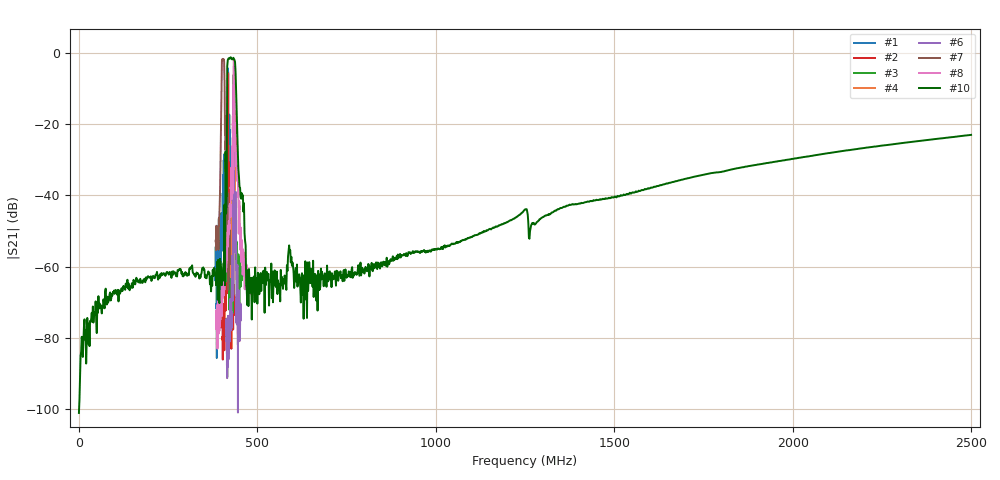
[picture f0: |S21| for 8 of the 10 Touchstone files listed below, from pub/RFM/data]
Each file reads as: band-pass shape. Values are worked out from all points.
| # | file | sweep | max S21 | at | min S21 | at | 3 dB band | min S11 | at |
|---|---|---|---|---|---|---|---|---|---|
| 1 | rf1171_w.s2p | 382.5 MHz to 432.5 MHz | -4.40 dB | 417.8 MHz | -85.6 dB | 386.6 MHz | 417.7 MHz-417.9 MHz | -12.9 dB | 417.7 MHz |
| 2 | rf1171d_w.s2p | 393 MHz to 443 MHz | -5.77 dB | 418.2 MHz | -86.0 dB | 403.2 MHz | 418.2 MHz-418.3 MHz | -6.0 dB | 418.2 MHz |
| 3 | rf1391c_w.s2p | 408.4 MHz to 458.4 MHz | -6.25 dB | 433.5 MHz | -76.3 dB | 444.3 MHz | 433 MHz-433.5 MHz | -7.2 dB | 433.1 MHz |
| 4 | rf1396c_w.s2p | 407.7 MHz to 439.7 MHz | -2.17 dB | 434.3 MHz | -64.8 dB | 432.5 MHz | 434 MHz-434.6 MHz | -21.9 dB | 434.3 MHz |
| 5 | rf1404c_n.s2p | 408.9 MHz to 458.9 MHz | -2.54 dB | 433.9 MHz | -66.1 dB | 432 MHz | 433.5 MHz-434.2 MHz | -17.7 dB | 433.7 MHz |
| 6 | rf1404dw.s2p | 413.9 MHz to 453.9 MHz | -6.22 dB | 434 MHz | -100.9 dB | 445.6 MHz | 434 MHz-434 MHz | -5.2 dB | 434 MHz |
| 7 | rf1419dspn.s2p | 383.5 MHz to 423.5 MHz | -1.69 dB | 403.4 MHz | -66.5 dB | 418.2 MHz | 400 MHz-407.8 MHz | -26.7 dB | 406.2 MHz |
| 8 | rf3625e_w.s2p | 384.4 MHz to 484.4 MHz | -2.44 dB | 434.8 MHz | -83.0 dB | 388.3 MHz | 433.6 MHz-435.3 MHz | -23.2 dB | 434.7 MHz |
| 9 | rf3631d_n.s2p | 376.4 MHz to 476.4 MHz | -1.23 dB | 425.2 MHz | -85.3 dB | 409.3 MHz | 415.5 MHz-438.6 MHz | -43.4 dB | 424.9 MHz |
| 10 | rf3631d_w.s2p | 100 kHz to 2.5 GHz | -1.25 dB | 425.1 MHz | -101.0 dB | 100 kHz | 415.7 MHz-437.6 MHz | -31.4 dB | 425.1 MHz |
